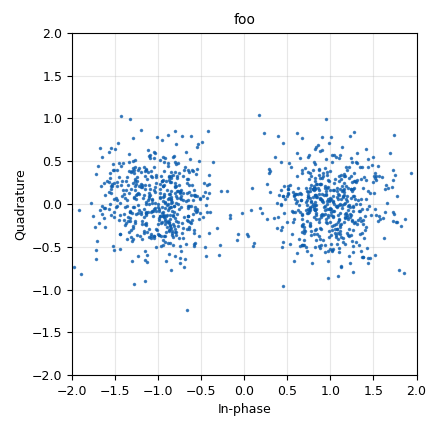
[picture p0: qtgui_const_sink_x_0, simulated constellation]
options:
  parameters:
    generate_options: qt_gui
    id: ActividadPrevia
    output_language: python
    title: Not titled yet
  states: {}

blocks:
- name: EbN0
  id: variable_qtgui_range
  parameters:
    label: Eb / N0 (dB)
    min_len: '-100'
    start: '0'
    step: '1'
    stop: '100'
    value: '3'
  states: {}
- name: const
  id: variable
  parameters:
    value: (digital.constellation_bpsk(), digital.constellation_qpsk(), digital.constellation_8psk())
  states: {}
- name: const_type
  id: variable
  parameters:
    value: '0'
  states: {}
- name: samp_rate
  id: variable
  parameters:
    value: '32000'
  states: {}
- name: variable_constellation_0
  id: variable_constellation
  parameters:
    precision: '8'
    type: 8psk
  states: {}
- name: analog_noise_source_x_0
  id: analog_noise_source_x
  parameters:
    amp: 1.0 / math.sqrt(2.0 *const[const_type].bits_per_symbol() * 10**(EbN0/10))
    noise_type: analog.GR_GAUSSIAN
    seed: '42'
    type: complex
  states: {}
- name: analog_random_source_x_0
  id: analog_random_source_x
  parameters:
    max: const[const_type].arity()
    min: '0'
    num_samps: int(10e6)
    repeat: 'False'
    type: byte
  states: {}
- name: blocks_add_xx_0
  id: blocks_add_xx
  parameters:
    type: complex
  states: {}
- name: blocks_file_sink_0
  id: blocks_file_sink
  parameters:
    file: /home/felipe/workspace/ComunicacionesDigitales/LAB4/salida2
    type: float
  states: {}
- name: blocks_throttle_0
  id: blocks_throttle
  parameters:
    samples_per_second: samp_rate
    type: byte
  states: {}
- name: digital_chunks_to_symbols_xx_0
  id: digital_chunks_to_symbols_xx
  parameters:
    dimension: '1'
    in_type: byte
    out_type: complex
    symbol_table: const[const_type].points()
  states: {}
- name: digital_constellation_decoder_cb_0
  id: digital_constellation_decoder_cb
  parameters:
    constellation: const[const_type].base()
  states: {}
- name: fec_ber_bf_0
  id: fec_ber_bf
  parameters:
    berlimit: '-7'
    berminerrors: '10'
    test_mode: 'False'
  states: {}
- name: import_0
  id: import
  parameters:
    imports: import math
  states: {}
- name: qtgui_const_sink_x_0
  id: qtgui_const_sink_x
  parameters:
    name: foo
    size: '1024'
    type: complex
  states: {}
- name: qtgui_number_sink_0
  id: qtgui_number_sink
  parameters:
    graph_type: qtgui.NUM_GRAPH_HORIZ
    type: float
  states: {}

connections:
- [analog_noise_source_x_0, '0', blocks_add_xx_0, '1']
- [analog_random_source_x_0, '0', blocks_throttle_0, '0']
- [analog_random_source_x_0, '0', digital_chunks_to_symbols_xx_0, '0']
- [blocks_add_xx_0, '0', digital_constellation_decoder_cb_0, '0']
- [blocks_add_xx_0, '0', qtgui_const_sink_x_0, '0']
- [blocks_throttle_0, '0', fec_ber_bf_0, '1']
- [digital_chunks_to_symbols_xx_0, '0', blocks_add_xx_0, '0']
- [digital_constellation_decoder_cb_0, '0', fec_ber_bf_0, '0']
- [fec_ber_bf_0, '0', blocks_file_sink_0, '0']
- [fec_ber_bf_0, '0', qtgui_number_sink_0, '0']

metadata:
  file_format: 1
